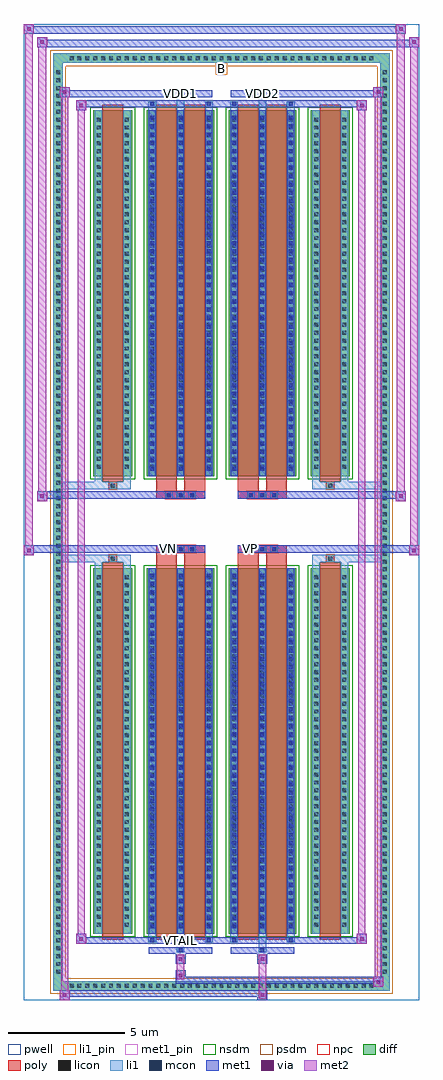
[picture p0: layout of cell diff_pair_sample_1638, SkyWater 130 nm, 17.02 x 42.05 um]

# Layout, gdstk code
import gdstk
lib = gdstk.Library(unit=1e-6, precision=5e-09)
def R(c, l, rs):  # rectangles x0, y0, x1, y1
    for r in rs: c.add(gdstk.rectangle(r[:2], r[2:], *l))
def A(c, l, x, y, w, h, nx, ny, dx, dy):  # array of equal rectangles
    R(c, l, [(x+i*dx, y+j*dy, x+i*dx+w, y+j*dy+h) for i in range(nx) for j in range(ny)])
def P(c, l, *ps):  # polygons
    for p in ps: c.add(gdstk.Polygon(p, *l))
pwell = (64, 44)
diff = (65, 20)
poly = (66, 20)
licon = (66, 44)
li1_pin = (67, 16)
li1 = (67, 20)
mcon = (67, 44)
met1_pin = (68, 16)
met1 = (68, 20)
via = (68, 44)
met2 = (69, 20)
nsdm = (93, 44)
psdm = (94, 20)
npc = (95, 20)

diff_pair_sample_1638 = lib.new_cell('diff_pair_sample_1638')
R(diff_pair_sample_1638, pwell, [(-8.51,-20.59,8.51,21.46), (-5.83,-18.78,-0.01,-0.8), (0.01,-18.78,5.83,-0.8), (-5.83,0.8,-0.01,18.78), (0.01,0.8,5.83,18.78)])
A(diff_pair_sample_1638, diff, -6.665, -20.19, 0.41, 0.41, 39, 2, 0.34, 39.97)
A(diff_pair_sample_1638, diff, -7.24, -19.585, 0.41, 0.41, 1, 115, 0, 0.34)
A(diff_pair_sample_1638, diff, 6.83, -19.585, 0.41, 0.41, 1, 115, 0, 0.34)
R(diff_pair_sample_1638, diff, [(-6.665,-20.19,6.665,-19.78), (-7.24,-19.585,-6.83,19.585), (6.83,-19.585,7.24,19.585), (-5.52,-17.735,-3.85,-1.985), (-3.21,-17.735,-0.32,-1.985), (0.32,-17.735,3.21,-1.985), (3.85,-17.735,5.52,-1.985), (-5.52,1.985,-3.85,17.735), (-3.21,1.985,-0.32,17.735), (0.32,1.985,3.21,17.735), (3.85,1.985,5.52,17.735), (-6.665,19.78,6.665,20.19)])
P(diff_pair_sample_1638, diff, [(7.24,20.19),(-7.24,20.19),(-7.24,-19.78),(-6.83,-19.78),(-6.83,19.78),(6.83,19.78),(6.83,-19.78),(-6.83,-19.78),(-7.24,-19.78),(-7.24,-20.19),(7.24,-20.19)])
A(diff_pair_sample_1638, poly, -2.43, -1.33, 0.33, 0.33, 3, 2, 0.5, 2.33)
A(diff_pair_sample_1638, poly, 1.1, -1.33, 0.33, 0.33, 3, 2, 0.5, 2.33)
R(diff_pair_sample_1638, poly, [(-5.13,-17.985,-4.24,-1.735), (-2.82,-17.985,-1.93,-1.735), (-1.6,-17.985,-0.71,-1.735), (0.71,-17.985,1.6,-1.735), (1.93,-17.985,2.82,-1.735), (4.24,-17.985,5.13,-1.735), (-4.85,-1.735,-4.52,-1.405), (-4.85,-1.735,-4.52,-1.405), (-2.82,-1.735,-1.93,-1.33), (-1.6,-1.735,-0.71,-1.33), (0.71,-1.735,1.6,-1.33), (1.93,-1.735,2.82,-1.33), (4.52,-1.735,4.85,-1.405), (4.52,-1.735,4.85,-1.405), (-2.82,-1.33,-0.71,-1), (0.71,-1.33,2.82,-1), (-2.82,1,-0.71,1.33), (0.71,1,2.82,1.33), (-2.82,1.33,-1.93,1.735), (-1.6,1.33,-0.71,1.735), (0.71,1.33,1.6,1.735), (1.93,1.33,2.82,1.735), (-4.85,1.405,-4.52,1.735), (-4.85,1.405,-4.52,1.735), (4.52,1.405,4.85,1.735), (4.52,1.405,4.85,1.735), (-5.13,1.735,-4.24,17.985), (-2.82,1.735,-1.93,17.985), (-1.6,1.735,-0.71,17.985), (0.71,1.735,1.6,17.985), (1.93,1.735,2.82,17.985), (4.24,1.735,5.13,17.985)])
A(diff_pair_sample_1638, licon, -6.545, -20.07, 0.17, 0.17, 39, 2, 0.34, 39.97)
A(diff_pair_sample_1638, licon, -7.12, -19.465, 0.17, 0.17, 1, 115, 0, 0.34)
A(diff_pair_sample_1638, licon, 6.95, -19.465, 0.17, 0.17, 1, 115, 0, 0.34)
A(diff_pair_sample_1638, licon, -5.38, -17.425, 0.17, 0.17, 1, 45, 0, 0.34)
A(diff_pair_sample_1638, licon, -4.16, -17.425, 0.17, 0.17, 1, 45, 0, 0.34)
A(diff_pair_sample_1638, licon, -3.07, -17.425, 0.17, 0.17, 3, 45, 1.22, 0.34)
A(diff_pair_sample_1638, licon, 0.46, -17.425, 0.17, 0.17, 3, 45, 1.22, 0.34)
A(diff_pair_sample_1638, licon, 3.99, -17.425, 0.17, 0.17, 1, 45, 0, 0.34)
A(diff_pair_sample_1638, licon, 5.21, -17.425, 0.17, 0.17, 1, 45, 0, 0.34)
A(diff_pair_sample_1638, licon, -2.35, -1.25, 0.17, 0.17, 3, 2, 0.5, 2.33)
A(diff_pair_sample_1638, licon, 1.18, -1.25, 0.17, 0.17, 3, 2, 0.5, 2.33)
A(diff_pair_sample_1638, licon, -5.38, 2.295, 0.17, 0.17, 1, 45, 0, 0.34)
A(diff_pair_sample_1638, licon, -4.16, 2.295, 0.17, 0.17, 1, 45, 0, 0.34)
A(diff_pair_sample_1638, licon, -3.07, 2.295, 0.17, 0.17, 3, 45, 1.22, 0.34)
A(diff_pair_sample_1638, licon, 0.46, 2.295, 0.17, 0.17, 3, 45, 1.22, 0.34)
A(diff_pair_sample_1638, licon, 3.99, 2.295, 0.17, 0.17, 1, 45, 0, 0.34)
A(diff_pair_sample_1638, licon, 5.21, 2.295, 0.17, 0.17, 1, 45, 0, 0.34)
R(diff_pair_sample_1638, licon, [(-4.77,-1.655,-4.6,-1.485), (4.6,-1.655,4.77,-1.485), (-4.77,1.485,-4.6,1.655), (4.6,1.485,4.77,1.655)])
R(diff_pair_sample_1638, li1_pin, [(-0.25,19.28,0.25,19.78)])
A(diff_pair_sample_1638, li1, -6.625, -20.15, 0.33, 0.33, 39, 2, 0.34, 39.97)
A(diff_pair_sample_1638, li1, -7.2, -19.545, 0.33, 0.33, 1, 115, 0, 0.34)
A(diff_pair_sample_1638, li1, 6.87, -19.545, 0.33, 0.33, 1, 115, 0, 0.34)
A(diff_pair_sample_1638, li1, -3.15, -17.735, 0.33, 15.75, 3, 2, 1.22, 19.72)
A(diff_pair_sample_1638, li1, 0.38, -17.735, 0.33, 15.75, 3, 2, 1.22, 19.72)
A(diff_pair_sample_1638, li1, -5.46, -17.505, 0.33, 0.33, 1, 45, 0, 0.34)
A(diff_pair_sample_1638, li1, -4.24, -17.505, 0.33, 0.33, 1, 45, 0, 0.34)
A(diff_pair_sample_1638, li1, -3.15, -17.505, 0.33, 0.33, 3, 45, 1.22, 0.34)
A(diff_pair_sample_1638, li1, -3.07, -17.505, 0.17, 0.17, 3, 43, 1.22, 0.36)
A(diff_pair_sample_1638, li1, -3.07, -17.505, 0.17, 15.29, 3, 2, 1.22, 19.72)
A(diff_pair_sample_1638, li1, 0.38, -17.505, 0.33, 0.33, 3, 45, 1.22, 0.34)
A(diff_pair_sample_1638, li1, 0.46, -17.505, 0.17, 0.17, 3, 43, 1.22, 0.36)
A(diff_pair_sample_1638, li1, 0.46, -17.505, 0.17, 15.29, 3, 2, 1.22, 19.72)
A(diff_pair_sample_1638, li1, 3.91, -17.505, 0.33, 0.33, 1, 45, 0, 0.34)
A(diff_pair_sample_1638, li1, 5.13, -17.505, 0.33, 0.33, 1, 45, 0, 0.34)
A(diff_pair_sample_1638, li1, -2.43, -1.33, 0.33, 0.33, 3, 2, 0.5, 2.33)
A(diff_pair_sample_1638, li1, 1.1, -1.33, 0.33, 0.33, 3, 2, 0.5, 2.33)
A(diff_pair_sample_1638, li1, -5.46, 2.215, 0.33, 0.33, 1, 45, 0, 0.34)
A(diff_pair_sample_1638, li1, -4.24, 2.215, 0.33, 0.33, 1, 45, 0, 0.34)
A(diff_pair_sample_1638, li1, -3.15, 2.215, 0.33, 0.33, 3, 45, 1.22, 0.34)
A(diff_pair_sample_1638, li1, -3.07, 2.215, 0.17, 0.17, 3, 43, 1.22, 0.36)
A(diff_pair_sample_1638, li1, 0.38, 2.215, 0.33, 0.33, 3, 45, 1.22, 0.34)
A(diff_pair_sample_1638, li1, 0.46, 2.215, 0.17, 0.17, 3, 43, 1.22, 0.36)
A(diff_pair_sample_1638, li1, 3.91, 2.215, 0.33, 0.33, 1, 45, 0, 0.34)
A(diff_pair_sample_1638, li1, 5.13, 2.215, 0.33, 0.33, 1, 45, 0, 0.34)
R(diff_pair_sample_1638, li1, [(-7.24,-20.19,-6.83,-19.78), (-7.24,-20.19,-6.83,-19.78), (-6.83,-20.19,6.83,-19.78), (6.83,-20.19,7.24,-19.78), (6.83,-20.19,7.24,-19.78), (-7.24,-19.78,-6.83,19.78), (6.83,-19.78,7.24,19.78), (-1.93,-18.54,-1.6,-17.735), (-1.85,-18.54,-1.68,-18.37), (1.6,-18.54,1.93,-17.735), (1.68,-18.54,1.85,-18.37), (-3.15,-18.11,-2.82,-17.735), (-3.07,-18.11,-2.9,-17.94), (-0.71,-18.11,-0.38,-17.735), (-0.63,-18.11,-0.46,-17.94), (0.38,-18.11,0.71,-17.735), (0.46,-18.11,0.63,-17.94), (2.82,-18.11,3.15,-17.735), (2.9,-18.11,3.07,-17.94), (-5.46,-17.735,-5.13,-1.985), (-4.24,-17.735,-3.91,-1.985), (3.91,-17.735,4.24,-1.985), (5.13,-17.735,5.46,-1.985), (-5.46,-1.985,-5.13,-1.405), (-4.24,-1.985,-3.91,-1.405), (3.91,-1.985,4.24,-1.405), (5.13,-1.985,5.46,-1.405), (-7.24,-1.735,-4.85,-1.405), (-5.46,-1.735,-4.85,-1.405), (-4.85,-1.735,-4.52,-1.405), (-4.52,-1.735,-3.91,-1.405), (3.91,-1.735,4.52,-1.405), (4.52,-1.735,4.85,-1.405), (4.52,-1.735,7.24,-1.405), (4.85,-1.735,5.46,-1.405), (-7.24,1.405,-4.85,1.735), (-5.46,1.405,-4.85,1.735), (-5.46,1.405,-5.13,1.985), (-4.85,1.405,-4.52,1.735), (-4.52,1.405,-3.91,1.735), (-4.24,1.405,-3.91,1.985), (3.91,1.405,4.52,1.735), (3.91,1.405,4.24,1.985), (4.52,1.405,4.85,1.735), (4.52,1.405,7.24,1.735), (4.85,1.405,5.46,1.735), (5.13,1.405,5.46,1.985), (-5.46,1.985,-5.13,17.735), (-4.24,1.985,-3.91,17.735), (3.91,1.985,4.24,17.735), (5.13,1.985,5.46,17.735), (-3.15,17.735,-2.82,18.11), (-1.93,17.735,-1.6,18.54), (-0.71,17.735,-0.38,18.11), (0.38,17.735,0.71,18.11), (1.6,17.735,1.93,18.54), (2.82,17.735,3.15,18.11), (-3.07,17.94,-2.9,18.11), (-0.63,17.94,-0.46,18.11), (0.46,17.94,0.63,18.11), (2.9,17.94,3.07,18.11), (-1.85,18.37,-1.68,18.54), (1.68,18.37,1.85,18.54), (-7.24,19.78,-6.83,20.19), (-7.24,19.78,-6.83,20.19), (-6.83,19.78,6.83,20.19), (6.83,19.78,7.24,20.19), (6.83,19.78,7.24,20.19)])
A(diff_pair_sample_1638, mcon, -3.07, -17.505, 0.17, 0.17, 3, 43, 1.22, 0.36)
A(diff_pair_sample_1638, mcon, 0.46, -17.505, 0.17, 0.17, 3, 43, 1.22, 0.36)
A(diff_pair_sample_1638, mcon, -2.35, -1.25, 0.17, 0.17, 3, 2, 0.5, 2.33)
A(diff_pair_sample_1638, mcon, 1.18, -1.25, 0.17, 0.17, 3, 2, 0.5, 2.33)
A(diff_pair_sample_1638, mcon, -3.07, 2.215, 0.17, 0.17, 3, 43, 1.22, 0.36)
A(diff_pair_sample_1638, mcon, 0.46, 2.215, 0.17, 0.17, 3, 43, 1.22, 0.36)
R(diff_pair_sample_1638, mcon, [(-1.85,-18.54,-1.68,-18.37), (1.68,-18.54,1.85,-18.37), (-3.07,-18.11,-2.9,-17.94), (-0.63,-18.11,-0.46,-17.94), (0.46,-18.11,0.63,-17.94), (2.9,-18.11,3.07,-17.94), (-3.07,17.94,-2.9,18.11), (-0.63,17.94,-0.46,18.11), (0.46,17.94,0.63,18.11), (2.9,17.94,3.07,18.11), (-1.85,18.37,-1.68,18.54), (1.68,18.37,1.85,18.54)])
R(diff_pair_sample_1638, met1_pin, [(-1.9,-18.15,-1.63,-17.88), (-2.4,-1.29,-2.13,-1.02), (1.13,-1.29,1.4,-1.02), (-1.9,18.33,-1.63,18.6), (1.63,18.33,1.9,18.6)])
A(diff_pair_sample_1638, met1, -3.13, -17.735, 0.29, 15.75, 3, 2, 1.22, 19.72)
A(diff_pair_sample_1638, met1, 0.4, -17.735, 0.29, 15.75, 3, 2, 1.22, 19.72)
A(diff_pair_sample_1638, met1, -3.13, -17.565, 0.29, 0.29, 3, 43, 1.22, 0.36)
A(diff_pair_sample_1638, met1, 0.4, -17.565, 0.29, 0.29, 3, 43, 1.22, 0.36)
A(diff_pair_sample_1638, met1, -2.41, -1.31, 0.29, 0.29, 3, 2, 0.5, 2.33)
A(diff_pair_sample_1638, met1, 1.12, -1.31, 0.29, 0.29, 3, 2, 0.5, 2.33)
A(diff_pair_sample_1638, met1, -3.13, 2.155, 0.29, 0.29, 3, 43, 1.22, 0.36)
A(diff_pair_sample_1638, met1, 0.4, 2.155, 0.29, 0.29, 3, 43, 1.22, 0.36)
R(diff_pair_sample_1638, met1, [(-6.97,-20.59,-6.54,-20.16), (1.55,-20.59,1.98,-20.16), (-6.97,-20.45,1.98,-20.16), (6.54,-20.02,6.97,-19.59), (-1.98,-19.88,6.97,-19.59), (-1.98,-19.74,-1.55,-19.31), (-1.98,-19.03,-1.55,-18.6), (1.55,-19.03,1.98,-18.6), (-3.13,-18.6,-0.4,-18.31), (-1.91,-18.6,-1.62,-18.31), (0.4,-18.6,3.13,-18.31), (1.62,-18.6,1.91,-18.31), (-6.26,-18.17,-5.83,-17.74), (-6.26,-18.17,-3.13,-17.88), (-3.13,-18.17,-2.84,-17.88), (-3.13,-18.17,-0.4,-17.88), (-0.69,-18.17,-0.4,-17.88), (-0.4,-18.17,0.4,-17.88), (0.4,-18.17,0.69,-17.88), (0.4,-18.17,3.13,-17.88), (2.84,-18.17,3.13,-17.88), (3.13,-18.17,6.26,-17.88), (5.83,-18.17,6.26,-17.74), (-8.51,-1.43,-8.08,-1), (8.08,-1.43,8.51,-1), (-8.51,-1.33,-0.71,-1), (-2.82,-1.33,-0.71,-1), (0.71,-1.33,2.82,-1), (0.71,-1.33,8.51,-1), (-7.94,0.9,-7.51,1.33), (7.51,0.9,7.94,1.33), (-7.94,1,-2.82,1.33), (-2.82,1,-0.71,1.33), (0.71,1,2.82,1.33), (2.82,1,7.94,1.33), (-6.26,17.74,-5.83,18.17), (5.83,17.74,6.26,18.17), (-6.26,17.88,-3.13,18.17), (-3.13,17.88,-2.84,18.17), (-3.13,17.88,-0.4,18.17), (-0.69,17.88,-0.4,18.17), (-0.4,17.88,0.4,18.17), (0.4,17.88,0.69,18.17), (0.4,17.88,3.13,18.17), (2.84,17.88,3.13,18.17), (3.13,17.88,6.26,18.17), (-6.97,18.31,-6.54,18.74), (-6.97,18.31,-3.13,18.6), (-3.13,18.31,-0.4,18.6), (-1.91,18.31,-1.62,18.6), (0.4,18.31,3.13,18.6), (1.62,18.31,1.91,18.6), (3.13,18.31,6.97,18.6), (6.54,18.31,6.97,18.74), (-7.94,20.46,-5.83,20.79), (-7.94,20.46,-7.51,20.89), (-5.83,20.46,5.83,20.79), (5.83,20.46,8.51,20.79), (8.08,20.46,8.51,20.89), (-8.51,21.03,-8.08,21.46), (-8.51,21.03,-5.83,21.36), (-5.83,21.03,5.83,21.36), (5.83,21.03,7.94,21.36), (7.51,21.03,7.94,21.46)])
R(diff_pair_sample_1638, via, [(-6.83,-20.45,-6.68,-20.3), (1.69,-20.45,1.84,-20.3), (6.68,-19.88,6.83,-19.73), (-1.84,-19.6,-1.69,-19.45), (-1.84,-18.89,-1.69,-18.74), (1.69,-18.89,1.84,-18.74), (-6.12,-18.03,-5.97,-17.88), (5.97,-18.03,6.12,-17.88), (-8.37,-1.29,-8.22,-1.14), (8.22,-1.29,8.37,-1.14), (-7.8,1.04,-7.65,1.19), (7.65,1.04,7.8,1.19), (-6.12,17.88,-5.97,18.03), (5.97,17.88,6.12,18.03), (-6.83,18.45,-6.68,18.6), (6.68,18.45,6.83,18.6), (-7.8,20.6,-7.65,20.75), (8.22,20.6,8.37,20.75), (-8.37,21.17,-8.22,21.32), (7.65,21.17,7.8,21.32)])
R(diff_pair_sample_1638, met2, [(-6.97,-20.59,-6.54,-20.16), (-6.9,-20.59,-6.61,18.74), (-6.61,-20.59,-6.54,-20.16), (-6.92,-20.54,-6.59,-20.21), (1.6,-20.54,1.93,-20.21), (1.6,-20.21,1.93,-18.98), (6.54,-20.02,6.97,-19.59), (6.61,-20.02,6.9,18.74), (6.9,-20.02,6.97,-19.59), (6.59,-19.97,6.92,-19.64), (-1.93,-19.69,-1.6,-19.36), (-1.93,-19.36,-1.6,-18.98), (-1.93,-18.98,-1.6,-18.65), (1.6,-18.98,1.93,-18.65), (-6.26,-18.17,-5.83,-17.74), (-6.19,-18.17,-5.9,18.17), (-5.9,-18.17,-5.83,-17.74), (5.83,-18.17,6.26,-17.74), (5.9,-18.17,6.19,18.17), (6.19,-18.17,6.26,-17.74), (-6.21,-18.12,-5.88,-17.79), (5.88,-18.12,6.21,-17.79), (-8.51,-1.43,-8.08,-1), (-8.46,-1.43,-8.13,21.46), (-8.13,-1.43,-8.08,-1), (8.08,-1.43,8.51,-1), (8.13,-1.43,8.46,20.89), (8.46,-1.43,8.51,-1), (-8.46,-1.38,-8.13,-1.05), (8.13,-1.38,8.46,-1.05), (-7.94,0.9,-7.51,1.33), (-7.89,0.9,-7.56,20.89), (-7.56,0.9,-7.51,1.33), (7.51,0.9,7.94,1.33), (7.56,0.9,7.89,21.46), (7.89,0.9,7.94,1.33), (-7.89,0.95,-7.56,1.28), (7.56,0.95,7.89,1.28), (-6.26,17.74,-5.83,18.17), (-5.9,17.74,-5.83,18.17), (5.83,17.74,6.26,18.17), (6.19,17.74,6.26,18.17), (-6.21,17.79,-5.88,18.12), (5.88,17.79,6.21,18.12), (-6.97,18.31,-6.54,18.74), (-6.61,18.31,-6.54,18.74), (6.54,18.31,6.97,18.74), (6.9,18.31,6.97,18.74), (-6.92,18.36,-6.59,18.69), (6.59,18.36,6.92,18.69), (-7.94,20.46,-7.51,20.89), (-7.56,20.46,-7.51,20.89), (8.08,20.46,8.51,20.89), (8.46,20.46,8.51,20.89), (-7.89,20.51,-7.56,20.84), (8.13,20.51,8.46,20.84), (-8.51,21.03,-8.08,21.46), (-8.13,21.03,-8.08,21.46), (7.51,21.03,7.94,21.46), (7.89,21.03,7.94,21.46), (-8.46,21.08,-8.13,21.41), (7.56,21.08,7.89,21.41)])
R(diff_pair_sample_1638, nsdm, [(-5.65,-17.865,-3.72,-1.855), (-3.34,-17.865,-0.19,-1.855), (0.19,-17.865,3.34,-1.855), (3.72,-17.865,5.65,-1.855), (-5.65,1.855,-3.72,17.865), (-3.34,1.855,-0.19,17.865), (0.19,1.855,3.34,17.865), (3.72,1.855,5.65,17.865)])
P(diff_pair_sample_1638, psdm, [(7.37,20.32),(-7.37,20.32),(-7.37,-19.65),(-6.7,-19.65),(-6.7,19.65),(6.7,19.65),(6.7,-19.65),(-6.7,-19.65),(-7.37,-19.65),(-7.37,-20.32),(7.37,-20.32)])
A(diff_pair_sample_1638, npc, -2.45, -1.35, 0.37, 0.37, 3, 2, 0.5, 2.33)
A(diff_pair_sample_1638, npc, 1.08, -1.35, 0.37, 0.37, 3, 2, 0.5, 2.33)
R(diff_pair_sample_1638, npc, [(-4.87,-1.755,-4.5,-1.385), (4.5,-1.755,4.87,-1.385), (-2.45,-1.35,-1.58,-0.98), (-2.45,-1.35,-1.58,-0.98), (-1.95,-1.35,-1.08,-0.98), (-1.95,-1.35,-1.08,-0.98), (1.08,-1.35,1.95,-0.98), (1.08,-1.35,1.95,-0.98), (1.58,-1.35,2.45,-0.98), (1.58,-1.35,2.45,-0.98), (-2.45,0.98,-1.58,1.35), (-2.45,0.98,-1.58,1.35), (-1.95,0.98,-1.08,1.35), (-1.95,0.98,-1.08,1.35), (1.08,0.98,1.95,1.35), (1.08,0.98,1.95,1.35), (1.58,0.98,2.45,1.35), (1.58,0.98,2.45,1.35), (-4.87,1.385,-4.5,1.755), (4.5,1.385,4.87,1.755)])
diff_pair_sample_1638.add(gdstk.Label('VTAIL', (-1.765,-18.015), layer=68, texttype=5))
diff_pair_sample_1638.add(gdstk.Label('VN', (-2.265,-1.155), layer=68, texttype=5))
diff_pair_sample_1638.add(gdstk.Label('VP', (1.265,-1.155), layer=68, texttype=5))
diff_pair_sample_1638.add(gdstk.Label('B', (0,19.53), layer=67, texttype=5))
diff_pair_sample_1638.add(gdstk.Label('VDD2', (1.765,18.465), layer=68, texttype=5))
diff_pair_sample_1638.add(gdstk.Label('VDD1', (-1.765,18.465), layer=68, texttype=5))

lib.write_gds('diff_pair_sample_1638.gds')
